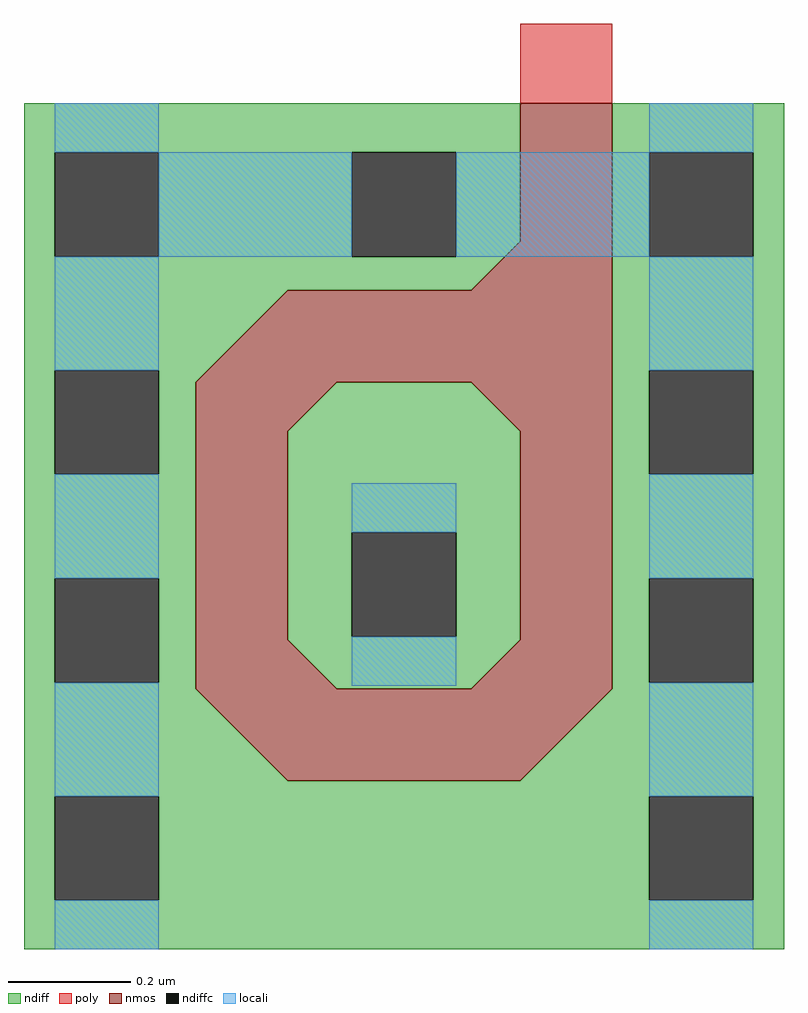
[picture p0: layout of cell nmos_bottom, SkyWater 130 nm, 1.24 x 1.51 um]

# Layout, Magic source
magic
tech sky130A
magscale 1 2
<< nmos >>
tri 146 215 162 231 se
rect 162 215 192 276
tri 56 185 86 215 se
rect 86 185 192 215
rect 56 85 86 185
tri 86 169 102 185 nw
tri 146 169 162 185 ne
tri 86 85 102 101 sw
tri 146 85 162 101 se
rect 162 85 192 185
tri 56 55 86 85 ne
rect 86 55 162 85
tri 162 55 192 85 nw
<< ndiff >>
rect 0 260 162 276
rect 0 226 10 260
rect 44 226 107 260
rect 141 231 162 260
rect 141 226 146 231
rect 0 215 146 226
tri 146 215 162 231 nw
rect 192 260 248 276
rect 192 226 204 260
rect 238 226 248 260
rect 0 189 56 215
rect 0 155 10 189
rect 44 155 56 189
tri 56 185 86 215 nw
rect 192 189 248 226
rect 0 121 56 155
rect 0 87 10 121
rect 44 87 56 121
rect 0 55 56 87
tri 86 169 102 185 se
rect 102 169 146 185
tri 146 169 162 185 sw
rect 86 136 162 169
rect 86 102 107 136
rect 141 102 162 136
rect 86 101 162 102
tri 86 85 102 101 ne
rect 102 85 146 101
tri 146 85 162 101 nw
rect 192 155 204 189
rect 238 155 248 189
rect 192 121 248 155
rect 192 87 204 121
rect 238 87 248 121
tri 56 55 86 85 sw
tri 162 55 192 85 se
rect 192 55 248 87
rect 0 50 248 55
rect 0 16 10 50
rect 44 16 204 50
rect 238 16 248 50
rect 0 0 248 16
<< ndiffc >>
rect 10 226 44 260
rect 107 226 141 260
rect 204 226 238 260
rect 10 155 44 189
rect 10 87 44 121
rect 107 102 141 136
rect 204 155 238 189
rect 204 87 238 121
rect 10 16 44 50
rect 204 16 238 50
<< poly >>
rect 162 276 192 302
<< locali >>
rect 10 260 44 276
rect 204 260 238 276
rect 44 226 107 260
rect 141 226 204 260
rect 10 189 44 226
rect 10 121 44 155
rect 204 189 238 226
rect 10 50 44 87
rect 107 136 141 152
rect 107 86 141 102
rect 204 121 238 155
rect 10 0 44 16
rect 204 50 238 87
rect 204 0 238 16
<< end >>
